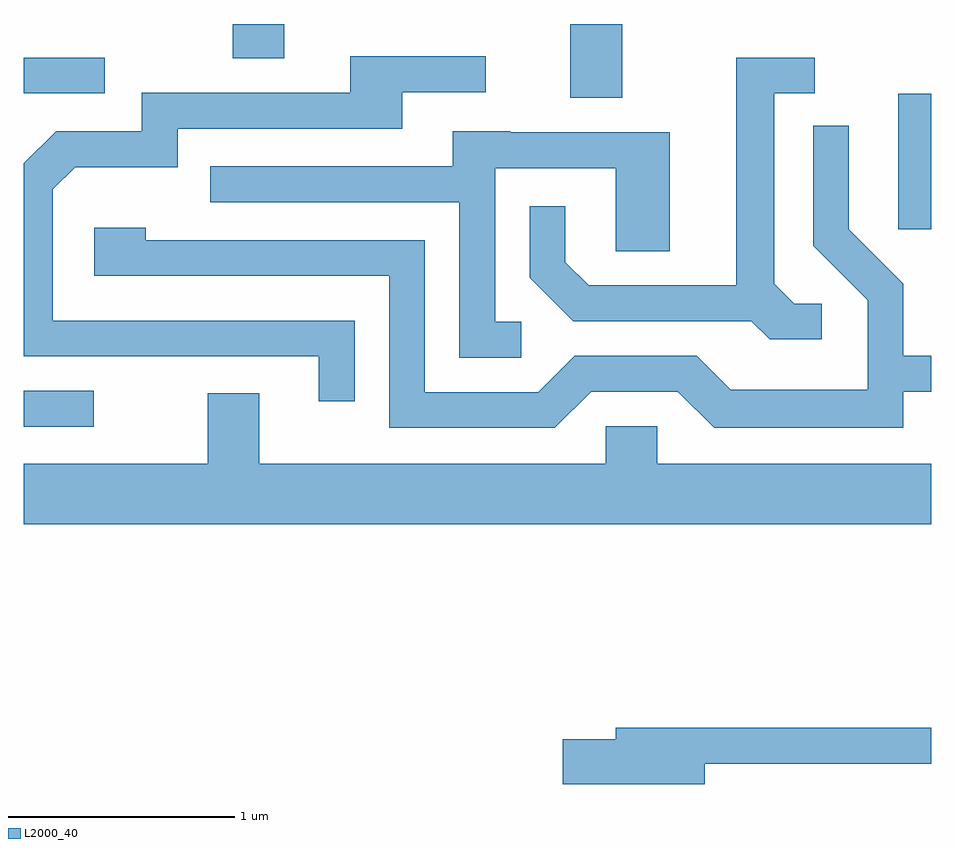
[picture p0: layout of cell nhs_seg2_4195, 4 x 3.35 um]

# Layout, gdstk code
import gdstk
lib = gdstk.Library(unit=1e-6, precision=1e-09)
def R(c, l, rs):  # rectangles x0, y0, x1, y1
    for r in rs: c.add(gdstk.rectangle(r[:2], r[2:], *l))
def P(c, l, *ps):  # polygons
    for p in ps: c.add(gdstk.Polygon(p, *l))
L2000_40 = (2000, 40)

nhs_seg2_4195 = lib.new_cell('nhs_seg2_4195')
R(nhs_seg2_4195, L2000_40, [(307.611,1102.026,307.918,1102.184), (311.466,1102.896,311.611,1103.494), (310.021,1103.476,310.249,1103.802), (307.611,1103.496,307.968,1103.654), (308.531,1103.651,308.759,1103.802)])
P(nhs_seg2_4195, L2000_40, [(309.069,1102.494),(307.739,1102.494),(307.739,1103.074),(307.837,1103.171),(308.289,1103.171),(308.289,1103.341),(309.279,1103.341),(309.279,1103.501),(309.648,1103.501),(309.648,1103.659),(309.051,1103.659),(309.051,1103.499),(308.131,1103.499),(308.131,1103.329),(307.754,1103.329),(307.611,1103.187),(307.611,1102.336),(308.911,1102.336),(308.911,1102.138),(309.069,1102.138)],
  [(311.128,1102.569),(311.007,1102.569),(310.919,1102.657),(310.919,1103.496),(311.098,1103.496),(311.098,1103.654),(310.751,1103.654),(310.751,1102.649),(310.102,1102.649),(309.999,1102.752),(309.999,1102.998),(309.841,1102.998),(309.841,1102.684),(310.034,1102.491),(310.819,1102.491),(310.899,1102.411),(311.128,1102.411)],
  [(310.112,1102.181),(310.494,1102.181),(310.654,1102.021),(311.489,1102.021),(311.489,1102.181),(311.611,1102.181),(311.611,1102.339),(311.489,1102.339),(311.489,1102.657),(311.249,1102.897),(311.249,1103.353),(311.091,1103.353),(311.091,1102.824),(311.331,1102.584),(311.331,1102.189),(310.727,1102.189),(310.577,1102.339),(310.039,1102.339),(309.879,1102.179),(309.379,1102.179),(309.379,1102.849),(308.149,1102.849),(308.149,1102.904),(307.921,1102.904),(307.921,1102.691),(309.221,1102.691),(309.221,1102.021),(309.952,1102.021)],
  [(309.803,1102.489),(309.689,1102.489),(309.689,1103.166),(310.221,1103.166),(310.221,1102.801),(310.459,1102.801),(310.459,1103.324),(309.755,1103.324),(309.755,1103.329),(309.501,1103.329),(309.501,1103.174),(308.433,1103.174),(308.433,1103.016),(309.531,1103.016),(309.531,1102.331),(309.803,1102.331)],
  [(311.611,1101.864),(310.404,1101.864),(310.404,1102.029),(310.176,1102.029),(310.176,1101.864),(308.649,1101.864),(308.649,1102.174),(308.421,1102.174),(308.421,1101.864),(307.611,1101.864),(307.611,1101.596),(311.611,1101.596)],
  [(310.614,1100.541),(311.611,1100.541),(311.611,1100.699),(310.221,1100.699),(310.221,1100.649),(309.986,1100.649),(309.986,1100.451),(310.614,1100.451)])

lib.write_gds('nhs_seg2_4195.gds')
